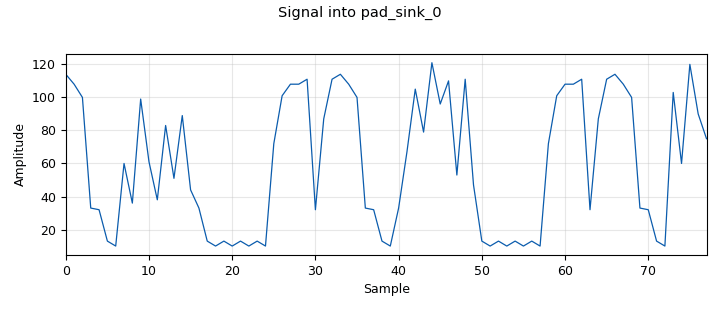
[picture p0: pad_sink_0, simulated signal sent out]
options:
  parameters:
    description: Creates a Stream Source with a random line of text thrown in
    generate_options: hb
    id: stream_source
    output_language: python
    title: Stream Source
  states: {}

blocks:
- name: a_msg_str
  id: parameter
  parameters:
    label: Message String
    type: str
    value: '"Hello World! \r\n"'
  states: {}
- name: analog_random_uniform_source_x_0
  id: analog_random_uniform_source_x
  parameters:
    maximum: '126'
    minimum: '32'
    seed: '321'
    type: byte
  states: {}
- name: b_Bpp
  id: parameter
  parameters:
    label: Message Length
    type: intx
    value: '15'
  states: {}
- name: blocks_stream_to_tagged_stream_0
  id: blocks_stream_to_tagged_stream
  parameters:
    len_tag_key: '"packet_len"'
    packet_len: b_Bpp
    type: byte
  states: {}
- name: blocks_stream_to_tagged_stream_0_0
  id: blocks_stream_to_tagged_stream
  parameters:
    len_tag_key: '"packet_len"'
    packet_len: '8'
    type: byte
  states: {}
- name: blocks_stream_to_tagged_stream_0_0_0
  id: blocks_stream_to_tagged_stream
  parameters:
    len_tag_key: '"packet_len"'
    packet_len: '10'
    type: byte
  states: {}
- name: blocks_tag_gate_0
  id: blocks_tag_gate
  parameters:
    propagate_tags: 'False'
    type: byte
  states: {}
- name: blocks_tagged_stream_mux_1
  id: blocks_tagged_stream_mux
  parameters:
    lengthtagname: packet_len
    ninputs: '3'
    type: byte
  states: {}
- name: blocks_vector_source_x_0
  id: blocks_vector_source_x
  parameters:
    repeat: 'True'
    type: byte
    vector: list(ord(i) for i in a_msg_str)
  states: {}
- name: blocks_vector_source_x_0_0
  id: blocks_vector_source_x
  parameters:
    repeat: 'True'
    type: byte
    vector: list(ord(i) for i in "\r\n\r\n")
  states: {}
- name: pad_sink_0
  id: pad_sink
  parameters:
    label: out
    type: byte
  states: {}

connections:
- [analog_random_uniform_source_x_0, '0', blocks_stream_to_tagged_stream_0_0_0, '0']
- [blocks_stream_to_tagged_stream_0, '0', blocks_tagged_stream_mux_1, '0']
- [blocks_stream_to_tagged_stream_0_0, '0', blocks_tagged_stream_mux_1, '2']
- [blocks_stream_to_tagged_stream_0_0_0, '0', blocks_tagged_stream_mux_1, '1']
- [blocks_tag_gate_0, '0', pad_sink_0, '0']
- [blocks_tagged_stream_mux_1, '0', blocks_tag_gate_0, '0']
- [blocks_vector_source_x_0, '0', blocks_stream_to_tagged_stream_0, '0']
- [blocks_vector_source_x_0_0, '0', blocks_stream_to_tagged_stream_0_0, '0']

metadata:
  file_format: 1
